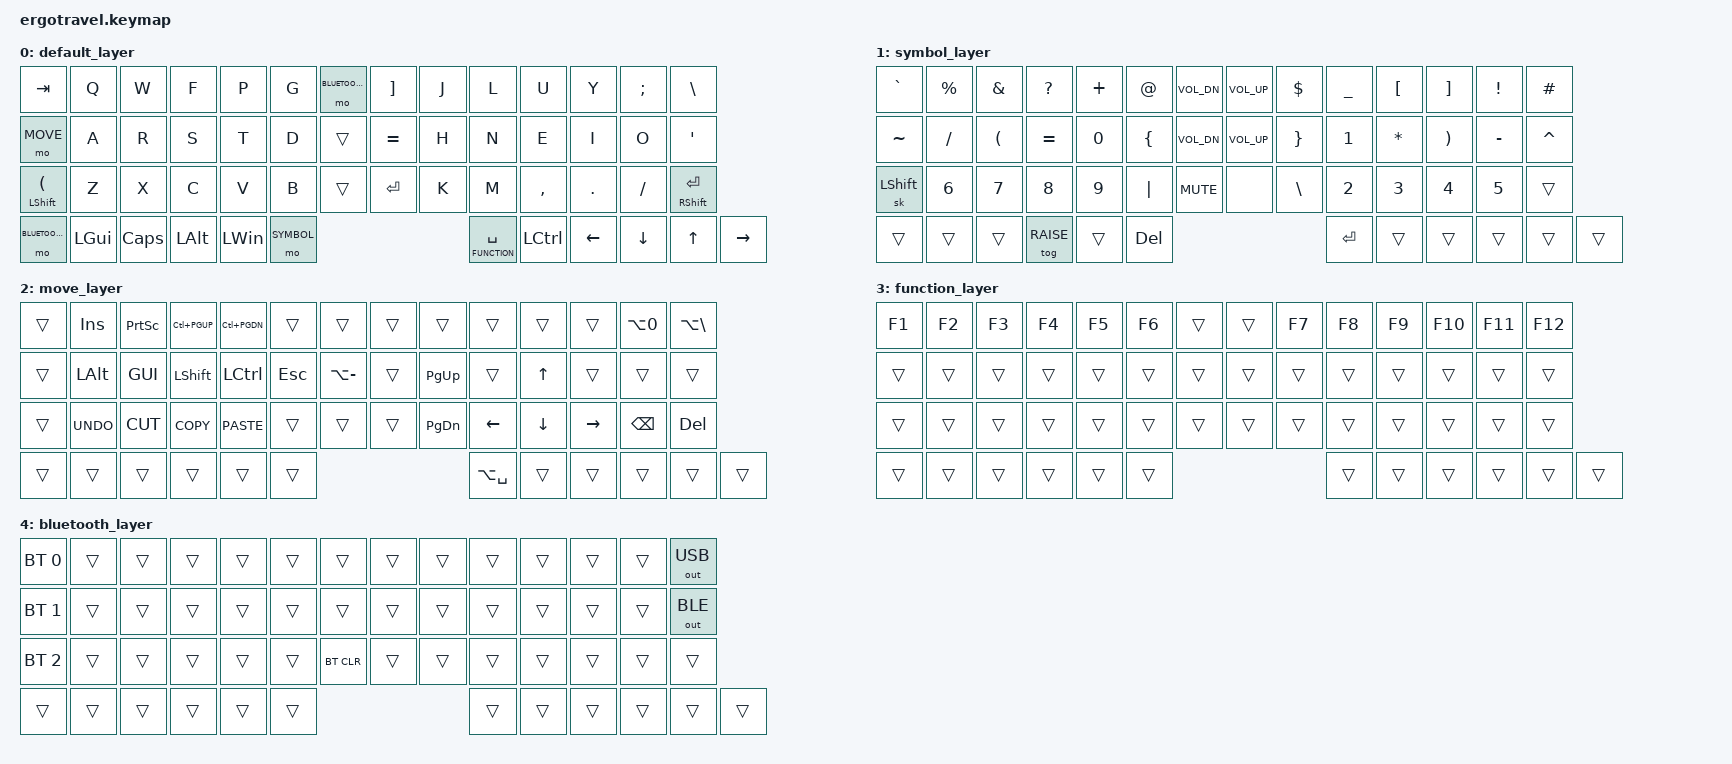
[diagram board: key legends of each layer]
/*
 * Copyright (c) 2020 The ZMK Contributors
 *
 * SPDX-License-Identifier: MIT
 */
#include <behaviors.dtsi>
#include <dt-bindings/zmk/keys.h>
#include <dt-bindings/zmk/bt.h>
#include <dt-bindings/zmk/ext_power.h>
#include <dt-bindings/zmk/outputs.h>

#define DEFAULT 0
#define SYMBOL 1
#define MOVE 2
#define FUNCTION 3
#define BLUETOOTH 4

/ {

        conditional_layers {
        compatible = "zmk,conditional-layers";
        tri_layer {
            if-layers = <1 2>;
            then-layer = <3>;
        };
    };
  };

	keymap {
		compatible = "zmk,keymap";

		default_layer {
    bindings = <
&kp TAB        &kp Q      &kp W      &kp F        &kp P       &kp G      &mo BLUETOOTH       &kp RBKT  &kp J     &kp L       &kp U       &kp Y      &kp SEMI      &kp BSLH
&mo MOVE       &kp A      &kp R      &kp S        &kp T       &kp D      &trans              &kp EQUAL &kp H     &kp N       &kp E       &kp I      &kp O         &kp SQT
&mt LSHFT LPAR &kp Z      &kp X      &kp C        &kp V       &kp B      &trans              &kp ENTER &kp K     &kp M       &kp COMMA   &kp DOT    &kp FSLH      &mt RSHFT ENTER
&mo BLUETOOTH  &kp LGUI   &kp CAPSLOCK   &kp LALT             &kp LWIN   &mo SYMBOL          &lt FUNCTION SPC    &kp LCTRL             &kp LEFT    &kp DOWN   &kp UP        &kp RIGHT
>;
		};

    symbol_layer {
    bindings = <
&kp GRAVE    &kp PRCNT     &kp AMPS    &kp QMARK      &kp PLUS    &kp AT       &kp C_VOL_DN       &kp C_VOL_UP     &kp DLLR  &kp UNDER      &kp LBKT         &kp RBKT      &kp EXCL     &kp HASH
&kp TILDE    &kp FSLH      &kp LPAR    &kp EQUAL      &kp N0      &kp LBRC     &kp C_VOL_DN       &kp C_VOL_UP     &kp RBRC  &kp N1         &kp STAR         &kp RPAR      &kp MINUS    &kp CARET
&sk LSHFT    &kp N6        &kp N7      &kp N8         &kp N9      &kp PIPE     &kp C_MUTE         &none            &kp BSLH  &kp N2         &kp N3           &kp N4        &kp N5        &trans
&trans    &trans        &trans      &tog RAISE                    &trans       &kp DEL            &kp ENTER        &trans                   &trans           &trans        &trans        &trans
>;
    };

    move_layer {
    bindings = <
&trans     &kp INS      &kp PSCRN  &kp LC(PGUP) &kp LC(PGDN) &trans    &trans              &trans   &trans    &trans    &trans    &trans     &kp LA(N0)  &kp LA(BSLH)
&trans     &kp LALT     &kp GUI    &kp LSHFT    &kp LCTRL    &kp ESC   &kp LA(MINUS)       &trans   &kp PG_UP &trans    &kp UP    &trans     &trans      &trans
&trans     &kp K_UNDO   &kp K_CUT  &kp K_COPY   &kp K_PASTE  &trans    &trans              &trans   &kp PG_DN &kp LEFT  &kp DOWN  &kp RIGHT  &kp BSPC    &kp DEL
&trans     &trans       &trans     &trans       &trans       &trans                        &kp LA(SPC)         &trans             &trans     &trans      &trans     &trans
>;
    };

    function_layer {
    bindings = <
&kp F1 &kp F2 &kp F3 &kp F4 &kp F5 &kp F6 &trans              &trans &kp F7 &kp F8 &kp F9 &kp F10 &kp F11 &kp F12
&trans &trans &trans &trans &trans &trans &trans              &trans &trans &trans &trans &trans &trans &trans
&trans &trans &trans &trans &trans &trans &trans          &trans &trans &trans &trans &trans &trans &trans
&trans       &trans &trans &trans        &trans &trans              &trans &trans        &trans &trans &trans &trans
>;
    };
    bluetooth_layer {
    bindings = <
&bt BT_SEL 0 &trans &trans &trans &trans &trans &trans              &trans &trans &trans &trans &trans &trans &out OUT_USB
&bt BT_SEL 1 &trans &trans &trans &trans &trans &trans              &trans &trans &trans &trans &trans &trans &out OUT_BLE
&bt BT_SEL 2 &trans &trans &trans &trans &trans &bt BT_CLR          &trans &trans &trans &trans &trans &trans &trans
&trans       &trans &trans &trans        &trans &trans              &trans &trans        &trans &trans &trans &trans
>;
    };
	};
};
